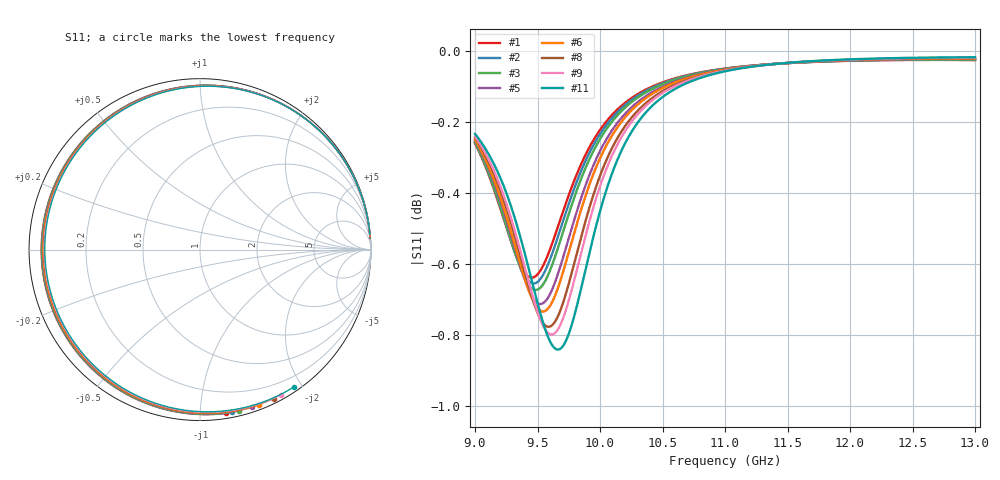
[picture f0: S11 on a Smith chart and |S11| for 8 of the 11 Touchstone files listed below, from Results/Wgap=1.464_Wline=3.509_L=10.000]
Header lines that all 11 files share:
! TOUCHSTONE file generated by CST DESIGN STUDIO
! Project name: C:\Work\MatlabApps\UnitCellOptimizationMatlab\CST\unitcell.cst
! Tree item: Tasks\Sweep1\SPara1\S-Parameters
! Header version: 2024
! Port assignment regex: !\s*Touchstone port\s*([0-9]+)\s*=\s*(CST MWS port|CST DES external port|CST DES block port)\s*(.+)\s* \(\"(.*)\"\)(\s*mode\s*([0-9]+))?.*
! Touchstone port assignment:
! Touchstone port 1 = CST DES external port 1 ("")
# GHz S MA R 50
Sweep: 9 GHz to 13 GHz
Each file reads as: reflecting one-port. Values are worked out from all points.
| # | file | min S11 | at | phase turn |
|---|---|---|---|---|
| 1 | DS_for_MWS-run-0001.s1p | -0.6 dB | 9.454 GHz | -275 deg |
| 2 | DS_for_MWS-run-0002.s1p | -0.7 dB | 9.469 GHz | -277 deg |
| 3 | DS_for_MWS-run-0003.s1p | -0.7 dB | 9.485 GHz | -279 deg |
| 4 | DS_for_MWS-run-0004.s1p | -0.7 dB | 9.503 GHz | -282 deg |
| 5 | DS_for_MWS-run-0005.s1p | -0.7 dB | 9.523 GHz | -284 deg |
| 6 | DS_for_MWS-run-0006.s1p | -0.7 dB | 9.543 GHz | -286 deg |
| 7 | DS_for_MWS-run-0007.s1p | -0.8 dB | 9.565 GHz | -289 deg |
| 8 | DS_for_MWS-run-0008.s1p | -0.8 dB | 9.588 GHz | -291 deg |
| 9 | DS_for_MWS-run-0009.s1p | -0.8 dB | 9.612 GHz | -294 deg |
| 10 | DS_for_MWS-run-0010.s1p | -0.8 dB | 9.637 GHz | -297 deg |
| 11 | DS_for_MWS-run-0011.s1p | -0.8 dB | 9.663 GHz | -299 deg |
